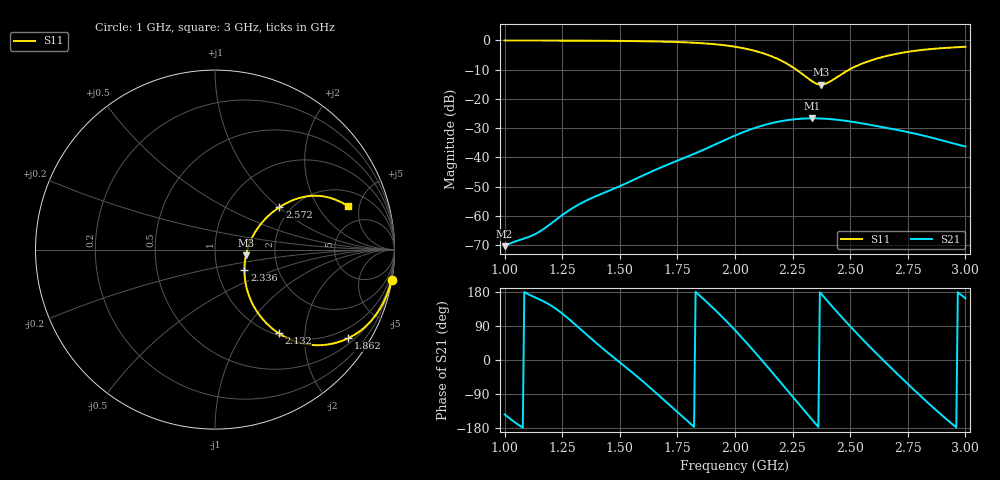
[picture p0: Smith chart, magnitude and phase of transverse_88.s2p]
! TOUCHSTONE file generated by CST MICROWAVE STUDIO
! Date and time: Tue Mar 11 13:56:36 2025
! Project name: transverse.cst
! Parameters = {Fracture=5; B=10; D=160; F=15; Feed=2.85625; L=100; M=10; R=0.384908; S=2; Theta=90; length=57.125; wave=114.25}
! Header version: 2024
! Port assignment regex: !\s*Touchstone port\s*([0-9]+)\s*=\s*(CST MWS port|CST DES external port|CST DES block port)\s*(.+)\s* \(\"(.*)\"\)(\s*mode\s*([0-9]+))?.*
! Touchstone port assignment:
! Touchstone port 1 = CST MWS port 1 ("")
! Touchstone port 2 = CST MWS port 2 ("")
# GHz S MA R 50
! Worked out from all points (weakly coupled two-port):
!   305 points, 1 GHz to 3 GHz, reference 50 ohm
!   highest |S21| = -26.68 dB at 2.336 GHz (marker M1); lowest = -70.4 dB at 1 GHz (marker M2)
!   lowest |S11| = -15.1 dB at 2.375 GHz (marker M3), VSWR 1.43, Z = 70.7 - j4.61 ohm
!   |S11| at or under -10 dB: 2.266 GHz to 2.496 GHz (229.8 MHz wide, 9.65 % of centre)
!   S12 and S22 are empty: the file has one direction only
!   S11 on the Smith chart (normalised r, x): 1 GHz: 0, -12; 1.862 GHz: 0.66, -3.19; 2.132 GHz: 1.04, -1.47; 2.336 GHz: 1.35, -0.31; 2.572 GHz: 1.75, +1.01; 3 GHz: 3.11, +3.81
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1  0.9978 -9.8  0.0003013 -143.5  0 0.0  0 0.0
1.14474  0.9955 -11.8  0.0005146 161.8  0 0.0  0 0.0
1.26974  0.9922 -13.9  0.001163 113.0  0 0.0  0 0.0
1.33553  0.9894 -15.2  0.001666 78.1  0 0.0  0 0.0
1.51974  0.9776 -19.5  0.003469 -15.9  0 0.0  0 0.0
1.67105  0.9572 -24.3  0.006514 -94.3  0 0.0  0 0.0
1.76974  0.932 -28.6  0.009404 -148.0  0 0.0  0 0.0
1.86184  0.8922 -33.5  0.01336 161.7  0 0.0  0 0.0
2  0.7798 -43.1  0.02354 78.7  0 0.0  0 0.0
2.06579  0.6935 -48.1  0.02981 34.8  0 0.0  0 0.0
2.13158  0.5847 -52.8  0.03603 -11.3  0 0.0  0 0.0
2.23026  0.3899 -55.7  0.04337 -82.3  0 0.0  0 0.0
2.28289  0.2831 -51.1  0.04558 -120.4  0 0.0  0 0.0
2.33553  0.1982 -34.2  0.04636 -158.2  0 0.0  0 0.0
2.35526  0.1808 -23.1  0.04629 -172.2  0 0.0  0 0.0
2.375  0.1754 -10.4  0.04603 173.9  0 0.0  0 0.0
2.40789  0.193 9.0  0.04521 151.0  0 0.0  0 0.0
2.47368  0.2819 28.3  0.04242 106.3  0 0.0  0 0.0
2.57237  0.43 33.4  0.03677 42.8  0 0.0  0 0.0
2.67105  0.5564 31.3  0.03113 -17.0  0 0.0  0 0.0
2.82895  0.6982 24.5  0.02292 -108.3  0 0.0  0 0.0
3  0.7773 18.2  0.01531 162.9  0 0.0  0 0.0
